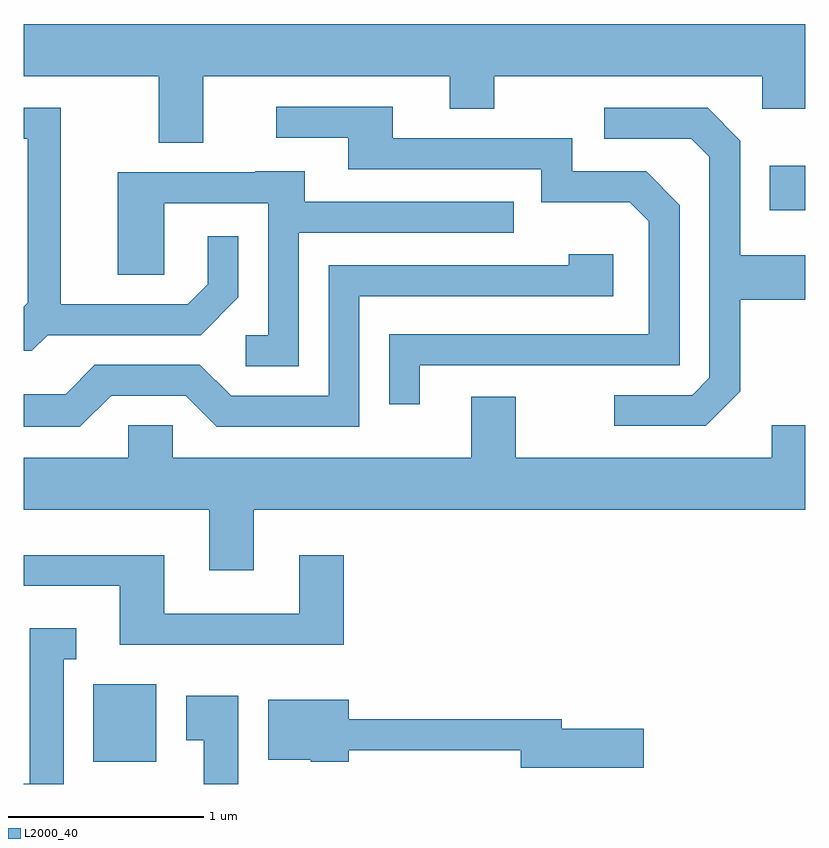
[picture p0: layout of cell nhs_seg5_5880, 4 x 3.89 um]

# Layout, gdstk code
import gdstk
lib = gdstk.Library(unit=1e-6, precision=1e-09)
def R(c, l, rs):  # rectangles x0, y0, x1, y1
    for r in rs: c.add(gdstk.rectangle(r[:2], r[2:], *l))
def P(c, l, *ps):  # polygons
    for p in ps: c.add(gdstk.Polygon(p, *l))
L2000_40 = (2000, 40)

nhs_seg5_5880 = lib.new_cell('nhs_seg5_5880')
R(nhs_seg5_5880, L2000_40, [(359.966,1442.186,360.289,1442.584), (363.431,1445.011,363.611,1445.239)])
P(nhs_seg5_5880, L2000_40, [(360.529,1445.696),(361.791,1445.696),(361.791,1445.531),(362.019,1445.531),(362.019,1445.696),(363.391,1445.696),(363.391,1445.531),(363.611,1445.531),(363.611,1445.964),(359.611,1445.964),(359.611,1445.696),(360.301,1445.696),(360.301,1445.356),(360.529,1445.356)],
  [(361.639,1444.216),(362.969,1444.216),(362.969,1445.037),(362.797,1445.209),(362.419,1445.209),(362.419,1445.379),(361.499,1445.379),(361.499,1445.539),(360.903,1445.539),(360.903,1445.381),(361.271,1445.381),(361.271,1445.221),(362.261,1445.221),(362.261,1445.051),(362.714,1445.051),(362.811,1444.954),(362.811,1444.374),(361.481,1444.374),(361.481,1444.018),(361.639,1444.018)],
  [(359.732,1444.371),(360.517,1444.371),(360.709,1444.564),(360.709,1444.878),(360.551,1444.878),(360.551,1444.632),(360.449,1444.529),(359.799,1444.529),(359.799,1445.534),(359.611,1445.534),(359.611,1445.376),(359.631,1445.376),(359.631,1444.537),(359.611,1444.517),(359.611,1444.291),(359.652,1444.291)],
  [(363.279,1444.084),(363.279,1444.551),(363.611,1444.551),(363.611,1444.779),(363.279,1444.779),(363.279,1445.367),(363.112,1445.534),(362.583,1445.534),(362.583,1445.376),(363.029,1445.376),(363.121,1445.284),(363.121,1444.152),(363.034,1444.064),(362.633,1444.064),(362.633,1443.906),(363.102,1443.906)],
  [(361.019,1444.896),(362.118,1444.896),(362.118,1445.054),(361.049,1445.054),(361.049,1445.209),(360.795,1445.209),(360.795,1445.204),(360.091,1445.204),(360.091,1444.681),(360.329,1444.681),(360.329,1445.046),(360.861,1445.046),(360.861,1444.369),(360.748,1444.369),(360.748,1444.211),(361.019,1444.211)],
  [(360.057,1444.061),(360.439,1444.061),(360.599,1443.901),(361.329,1443.901),(361.329,1444.571),(362.629,1444.571),(362.629,1444.784),(362.401,1444.784),(362.401,1444.729),(361.171,1444.729),(361.171,1444.059),(360.672,1444.059),(360.512,1444.219),(359.974,1444.219),(359.824,1444.069),(359.611,1444.069),(359.611,1443.901),(359.897,1443.901)],
  [(360.789,1443.476),(363.611,1443.476),(363.611,1443.909),(363.441,1443.909),(363.441,1443.744),(362.129,1443.744),(362.129,1444.054),(361.901,1444.054),(361.901,1443.744),(360.374,1443.744),(360.374,1443.909),(360.146,1443.909),(360.146,1443.744),(359.611,1443.744),(359.611,1443.476),(360.561,1443.476),(360.561,1443.166),(360.789,1443.166)],
  [(361.249,1443.244),(361.021,1443.244),(361.021,1442.944),(360.329,1442.944),(360.329,1443.244),(359.611,1443.244),(359.611,1443.086),(360.101,1443.086),(360.101,1442.786),(361.249,1442.786)],
  [(359.814,1442.711),(359.878,1442.711),(359.878,1442.869),(359.641,1442.869),(359.641,1442.074),(359.611,1442.074),(359.611,1442.072),(359.814,1442.072)],
  [(360.709,1442.524),(360.441,1442.524),(360.441,1442.296),(360.531,1442.296),(360.531,1442.072),(360.709,1442.072)],
  [(362.784,1442.354),(362.364,1442.354),(362.364,1442.404),(361.274,1442.404),(361.274,1442.504),(360.861,1442.504),(360.861,1442.196),(361.08,1442.196),(361.08,1442.186),(361.274,1442.186),(361.274,1442.246),(362.156,1442.246),(362.156,1442.156),(362.784,1442.156)])

lib.write_gds('nhs_seg5_5880.gds')
